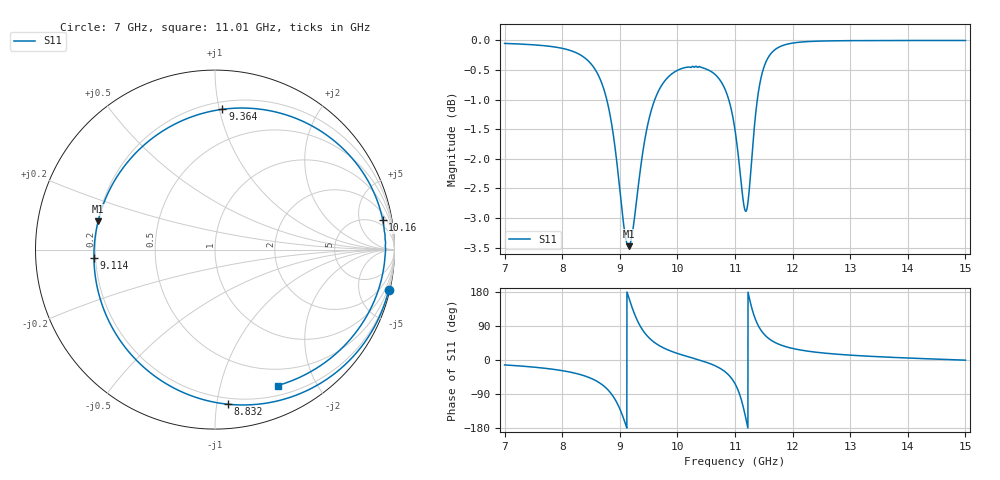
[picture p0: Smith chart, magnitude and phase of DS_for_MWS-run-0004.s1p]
! TOUCHSTONE file generated by CST DESIGN STUDIO
! Date and time: Mon Feb 10 16:50:48 2025
! Project name: C:\Work\MatlabApps\UnitCellType2OptimizationMatlab\CST\unitcell.cst
! Tree item: Tasks\Sweep1\SPara1\S-Parameters
! Header version: 2024
! Port assignment regex: !\s*Touchstone port\s*([0-9]+)\s*=\s*(CST MWS port|CST DES external port|CST DES block port)\s*(.+)\s* \(\"(.*)\"\)(\s*mode\s*([0-9]+))?.*
! Touchstone port assignment:
! Touchstone port 1 = CST DES external port 1 ("")
# GHz S MA R 50
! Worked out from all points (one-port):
!   4001 points, 7 GHz to 15 GHz, reference 50 ohm
!   lowest |S11| = -3.5 dB at 9.152 GHz (marker M1), VSWR 5.06, Z = 10 + j5.76 ohm
!   |S11| at or under -10 dB: nowhere
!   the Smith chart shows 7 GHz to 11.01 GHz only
!   S11 on the Smith chart (normalised r, x): 7 GHz: 0.23, -8.79; 8.832 GHz: 0.16, -1.07; 9.114 GHz: 0.19, -0.03; 9.364 GHz: 0.25, +1.02; 10.16 GHz: 3, +11; 11.01 GHz: 0.31, -1.52
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7  0.9942 -13.0
8  0.9848 -28.1
8.518  0.9532 -49.5
8.688  0.9199 -64.5
8.832  0.8644 -85.3
9  0.7483 -128.8
9.114  0.6762 -175.9
9.152  0.6702 166.3
9.258  0.7101 120.4
9.364  0.7827 87.0
9.618  0.894 44.5
10  0.9435 17.3
10.156  0.9491 10.0
10.734  0.9266 -21.4
10.888  0.8923 -39.3
11  0.8403 -62.4
11.01  0.8339 -65.2
11.128  0.7418 -114.9
11.188  0.7172 -153.9
11.238  0.7393 170.6
11.324  0.8323 120.5
11.416  0.9106 87.3
11.514  0.9529 66.6
11.632  0.9758 51.7
12  0.9949 30.5
13  0.9996 12.8
14  0.9999 5.2
15  0.9999 -0.4
